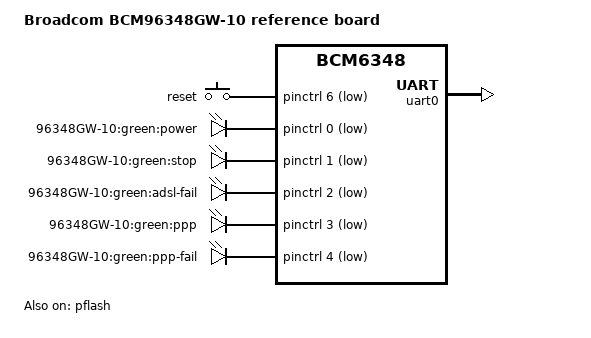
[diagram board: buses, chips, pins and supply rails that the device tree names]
/dts-v1/;

#include "bcm6348.dtsi"

#include <dt-bindings/input/input.h>

/ {
	model = "Broadcom BCM96348GW-10 reference board";
	compatible = "brcm,bcm96348gw-10", "brcm,bcm6348";

	chosen {
		bootargs = "root=/dev/mtdblock2 rootfstype=squashfs,jffs2 noinitrd console=ttyS0,115200";
		stdout-path = "serial0:115200n8";
	};

	gpio-keys-polled {
		compatible = "gpio-keys-polled";
		#address-cells = <1>;
		#size-cells = <0>;
		poll-interval = <20>;
		debounce-interval = <60>;

		reset {
			label = "reset";
			gpios = <&pinctrl 6 1>;
			linux,code = <KEY_RESTART>;
		};
	};

	gpio-leds {
		compatible = "gpio-leds";

		power_green {
			label = "96348GW-10:green:power";
			gpios = <&pinctrl 0 1>;
			default-state = "on";
		};
		stop_green {
			label = "96348GW-10:green:stop";
			gpios = <&pinctrl 1 1>;
		};
		adsl_fail_green {
			label = "96348GW-10:green:adsl-fail";
			gpios = <&pinctrl 2 1>;
		};
		ppp_green {
			label = "96348GW-10:green:ppp";
			gpios = <&pinctrl 3 1>;
		};
		ppp_fail_green {
			label = "96348GW-10:green:ppp-fail";
			gpios = <&pinctrl 4 1>;
		};
	};
};

&pflash {
	status = "ok";

	linux,part-probe = "bcm63xxpart";
};

&pinctrl {
	pinctrl-names = "default";
	pinctrl-0 = <&pinctrl_pci &pinctrl_ext_mii &pinctrl_mii_pccard>;
};

&uart0 {
	status = "ok";
};
